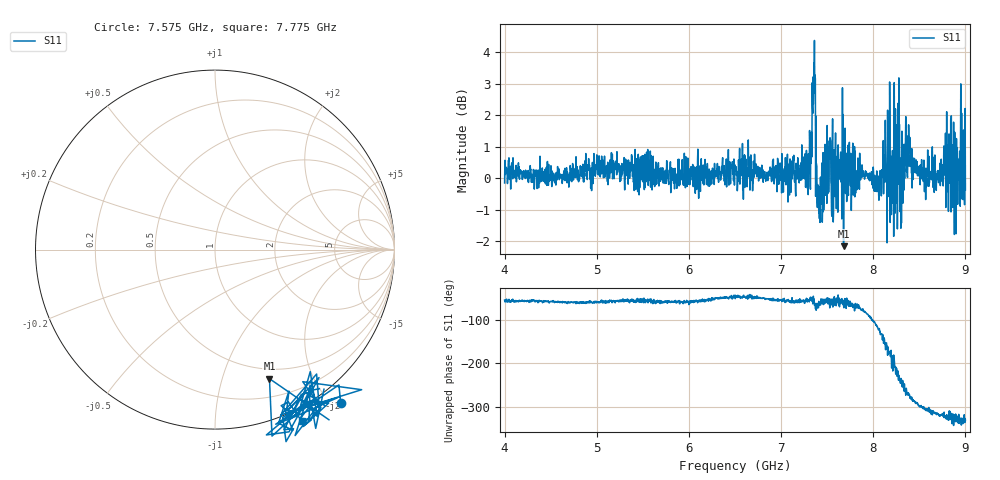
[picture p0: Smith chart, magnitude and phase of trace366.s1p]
! Created with skrf 1.8.0 (http://scikit-rf.org).
# Hz S RI R 50.0
!freq ReS11 ImS11
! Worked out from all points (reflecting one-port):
!   1601 points, 4 GHz to 9 GHz, reference 50 ohm
!   lowest |S11| = -2.2 dB at 7.678 GHz (marker M1), VSWR 8.11, Z = 19.5 - j71.7 ohm
!   phase of S11 starts at -55 deg and turns -276 deg over the sweep
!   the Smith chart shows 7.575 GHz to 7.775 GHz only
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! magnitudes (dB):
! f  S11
! 4 GHz  -0.1
! 4.625 GHz  -0.2
! 5.25 GHz  -0.1
! 5.875 GHz  -0.1
! 6.5 GHz  0.4
! 7.125 GHz  0.2
! 7.294 GHz  -0.5
! 7.309 GHz  1.5
! 7.347 GHz  3.2
! 7.362 GHz  4.4
! 7.4 GHz  -0.6
! 7.412 GHz  -0.6
! 7.512 GHz  1.0
! 7.591 GHz  1.4
! 7.678 GHz  -2.2
! 7.75 GHz  0.1
! 8.044 GHz  -0.1
! 8.156 GHz  2.2
! 8.209 GHz  0.9
! 8.262 GHz  -1.6
! 8.316 GHz  0.9
! 8.334 GHz  0.4
! 8.375 GHz  0.8
! 8.556 GHz  -0.4
! 8.775 GHz  0.8
! 8.919 GHz  0.0
! 8.972 GHz  1.0
! 9 GHz  -0.4
